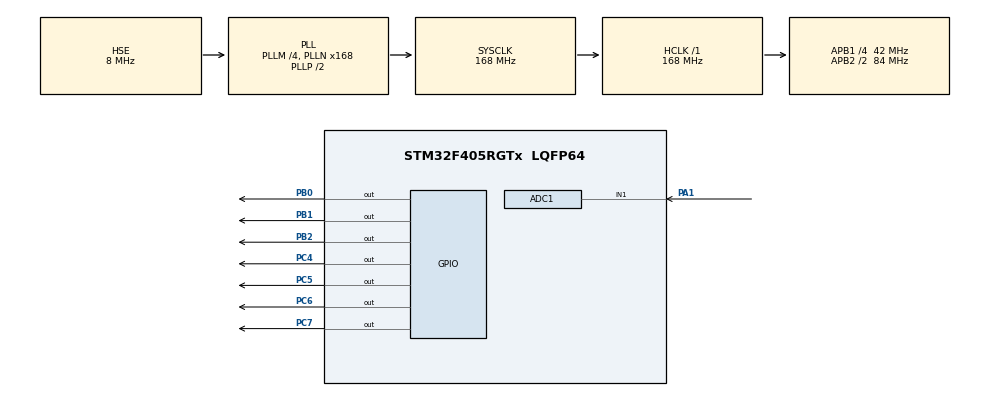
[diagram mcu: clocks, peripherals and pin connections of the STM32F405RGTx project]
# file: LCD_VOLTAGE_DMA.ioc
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ADC1.Channel-1\#ChannelRegularConversion=ADC_CHANNEL_1
ADC1.ContinuousConvMode=ENABLE
ADC1.DMAContinuousRequests=ENABLE
ADC1.NbrOfConversionFlag=1
ADC1.Rank-1\#ChannelRegularConversion=1
ADC1.SamplingTime-1\#ChannelRegularConversion=ADC_SAMPLETIME_56CYCLES
ADC1.master=1
Dma.ADC1.0.Direction=DMA_PERIPH_TO_MEMORY
Dma.ADC1.0.FIFOMode=DMA_FIFOMODE_DISABLE
Dma.ADC1.0.Instance=DMA2_Stream0
Dma.ADC1.0.MemDataAlignment=DMA_MDATAALIGN_HALFWORD
Dma.ADC1.0.MemInc=DMA_MINC_ENABLE
Dma.ADC1.0.Mode=DMA_CIRCULAR
Dma.ADC1.0.PeriphDataAlignment=DMA_PDATAALIGN_HALFWORD
Dma.ADC1.0.PeriphInc=DMA_PINC_DISABLE
Dma.ADC1.0.Priority=DMA_PRIORITY_LOW
Dma.Request0=ADC1
Mcu.Family=STM32F4
Mcu.Name=STM32F405RGTx
Mcu.Package=LQFP64
NVIC.DMA2_Stream0_IRQn=true\:0\:0\:false\:false\:true\:false\:true
NVIC.PriorityGroup=NVIC_PRIORITYGROUP_4
PA1.Signal=ADCx_IN1
PA13.Mode=Serial_Wire
PA13.Signal=SYS_JTMS-SWDIO
PA14.Mode=Serial_Wire
PA14.Signal=SYS_JTCK-SWCLK
PB0.Signal=GPIO_Output
PB1.Signal=GPIO_Output
PB2.Signal=GPIO_Output
PC4.Signal=GPIO_Output
PC5.Signal=GPIO_Output
PC6.Signal=GPIO_Output
PC7.Signal=GPIO_Output
PH0-OSC_IN.Mode=HSE-External-Oscillator
PH0-OSC_IN.Signal=RCC_OSC_IN
PH1-OSC_OUT.Mode=HSE-External-Oscillator
PH1-OSC_OUT.Signal=RCC_OSC_OUT
ProjectManager.HeapSize=0x200
ProjectManager.StackSize=0x400
ProjectManager.TargetToolchain=EWARM V8.32
RCC.48MHZClocksFreq_Value=84000000
RCC.AHBFreq_Value=168000000
RCC.APB1CLKDivider=RCC_HCLK_DIV4
RCC.APB1Freq_Value=42000000
RCC.APB1TimFreq_Value=84000000
RCC.APB2CLKDivider=RCC_HCLK_DIV2
RCC.APB2Freq_Value=84000000
RCC.APB2TimFreq_Value=168000000
RCC.CortexFreq_Value=168000000
RCC.HCLKFreq_Value=168000000
RCC.HSE_VALUE=8000000
RCC.HSI_VALUE=16000000
RCC.LSE_VALUE=32768
RCC.PLLM=4
RCC.PLLN=168
RCC.PLLSourceVirtual=RCC_PLLSOURCE_HSE
RCC.SYSCLKFreq_VALUE=168000000
RCC.SYSCLKSource=RCC_SYSCLKSOURCE_PLLCLK
RCC.VCOOutputFreq_Value=336000000
SH.ADCx_IN1.0=ADC1_IN1,IN1
board=custom

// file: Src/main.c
/* USER CODE BEGIN Header */
/**
******************************************************************************
* @file           : main.c
* @brief          : Main program body
******************************************************************************
* @attention
*
* <h2><center>&copy; Copyright (c) 2020 STMicroelectronics.
* All rights reserved.</center></h2>
*
* This software component is licensed by ST under BSD 3-Clause license,
* the "License"; You may not use this file except in compliance with the
* License. You may obtain a copy of the License at:
*                        opensource.org/licenses/BSD-3-Clause
*
******************************************************************************
*/
/* USER CODE END Header */

#include "main.h"
#include "adc.h"
#include "dma.h"
#include "gpio.h"

/* USER CODE BEGIN Includes */
#include "lcd.h"
#include "stdio.h"
/* USER CODE END Includes */

/* USER CODE BEGIN PV */
uint16_t adcData;
float v_temp;
char str[16];
/* USER CODE END PV */

void SystemClock_Config(void);

int main(void)
{

  /* MCU Configuration--------------------------------------------------------*/

  /* Reset of all peripherals, Initializes the Flash interface and the Systick. */
  HAL_Init();

  /* Configure the system clock */
  SystemClock_Config();

  /* Initialize all configured peripherals */
  MX_GPIO_Init();
  MX_DMA_Init();
  MX_ADC1_Init();
  /* USER CODE BEGIN 2 */
  lcdInit();
  HAL_ADC_Start_DMA(&hadc1,(uint32_t*)&adcData,sizeof(adcData));
  /* USER CODE END 2 */

  /* Infinite loop */
  /* USER CODE BEGIN WHILE */
  while (1)
  {

    lcdClear();
    lcdGotoXY(0,0);
    lcdPrintData("ADC Voltage",11);

    v_temp=(float)adcData *33/4095;
    sprintf(str,"Voltage : %.1f",v_temp);
    lcdGotoXY(0,1);
    lcdPrint(str);
    HAL_Delay(500);

    /* USER CODE END WHILE */

  }
}

void SystemClock_Config(void)
{
  RCC_OscInitTypeDef RCC_OscInitStruct = {0};
  RCC_ClkInitTypeDef RCC_ClkInitStruct = {0};

  /** Configure the main internal regulator output voltage
  */
  __HAL_RCC_PWR_CLK_ENABLE();
  __HAL_PWR_VOLTAGESCALING_CONFIG(PWR_REGULATOR_VOLTAGE_SCALE1);
  /** Initializes the CPU, AHB and APB busses clocks
  */
  RCC_OscInitStruct.OscillatorType = RCC_OSCILLATORTYPE_HSE;
  RCC_OscInitStruct.HSEState = RCC_HSE_ON;
  RCC_OscInitStruct.PLL.PLLState = RCC_PLL_ON;
  RCC_OscInitStruct.PLL.PLLSource = RCC_PLLSOURCE_HSE;
  RCC_OscInitStruct.PLL.PLLM = 4;
  RCC_OscInitStruct.PLL.PLLN = 168;
  RCC_OscInitStruct.PLL.PLLP = RCC_PLLP_DIV2;
  RCC_OscInitStruct.PLL.PLLQ = 4;
  if (HAL_RCC_OscConfig(&RCC_OscInitStruct) != HAL_OK)
  {
    Error_Handler();
  }
  /** Initializes the CPU, AHB and APB busses clocks
  */
  RCC_ClkInitStruct.ClockType = RCC_CLOCKTYPE_HCLK|RCC_CLOCKTYPE_SYSCLK
    |RCC_CLOCKTYPE_PCLK1|RCC_CLOCKTYPE_PCLK2;
  RCC_ClkInitStruct.SYSCLKSource = RCC_SYSCLKSOURCE_PLLCLK;
  RCC_ClkInitStruct.AHBCLKDivider = RCC_SYSCLK_DIV1;
  RCC_ClkInitStruct.APB1CLKDivider = RCC_HCLK_DIV4;
  RCC_ClkInitStruct.APB2CLKDivider = RCC_HCLK_DIV2;

  if (HAL_RCC_ClockConfig(&RCC_ClkInitStruct, FLASH_LATENCY_5) != HAL_OK)
  {
    Error_Handler();
  }
}

void Error_Handler(void)
{
}

/************************ (C) COPYRIGHT STMicroelectronics *****END OF FILE****/
